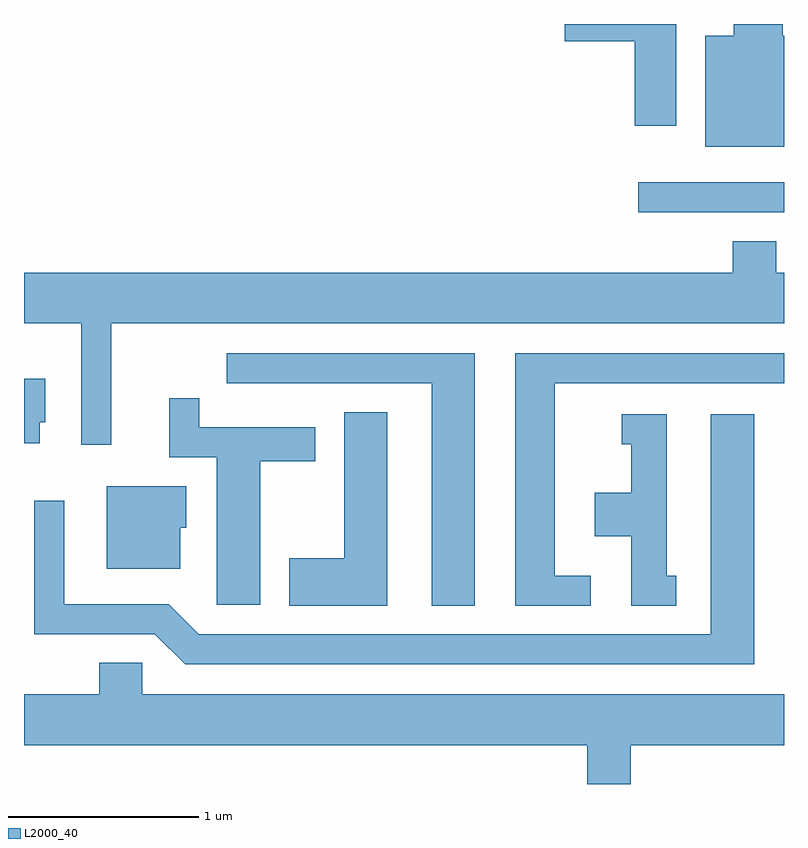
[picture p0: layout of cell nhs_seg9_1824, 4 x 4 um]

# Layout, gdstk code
import gdstk
lib = gdstk.Library(unit=1e-6, precision=1e-09)
def R(c, l, rs):  # rectangles x0, y0, x1, y1
    for r in rs: c.add(gdstk.rectangle(r[:2], r[2:], *l))
def P(c, l, *ps):  # polygons
    for p in ps: c.add(gdstk.Polygon(p, *l))
L2000_40 = (2000, 40)

nhs_seg9_1824 = lib.new_cell('nhs_seg9_1824')
R(nhs_seg9_1824, L2000_40, [(240.843,2063.441,241.611,2063.599)])
P(nhs_seg9_1824, L2000_40, [(241.044,2064.432),(240.456,2064.432),(240.456,2064.341),(240.826,2064.341),(240.826,2063.896),(241.044,2063.896)],
  [(241.611,2064.369),(241.604,2064.369),(241.604,2064.432),(241.346,2064.432),(241.346,2064.369),(241.196,2064.369),(241.196,2063.786),(241.611,2063.786)],
  [(238.069,2062.856),(241.611,2062.856),(241.611,2063.124),(241.569,2063.124),(241.569,2063.289),(241.341,2063.289),(241.341,2063.124),(237.611,2063.124),(237.611,2062.856),(237.911,2062.856),(237.911,2062.218),(238.069,2062.218)],
  [(239.984,2062.699),(238.678,2062.699),(238.678,2062.541),(239.756,2062.541),(239.756,2061.371),(239.984,2061.371)],
  [(240.593,2061.529),(240.404,2061.529),(240.404,2062.541),(241.611,2062.541),(241.611,2062.699),(240.196,2062.699),(240.196,2061.371),(240.593,2061.371)],
  [(237.694,2062.336),(237.724,2062.336),(237.724,2062.564),(237.611,2062.564),(237.611,2062.226),(237.694,2062.226)],
  [(238.854,2062.131),(239.144,2062.131),(239.144,2062.309),(238.534,2062.309),(238.534,2062.463),(238.376,2062.463),(238.376,2062.151),(238.626,2062.151),(238.626,2061.376),(238.854,2061.376)],
  [(239.524,2062.389),(239.296,2062.389),(239.296,2061.619),(239.006,2061.619),(239.006,2061.371),(239.524,2061.371)],
  [(241.454,2062.379),(241.226,2062.379),(241.226,2061.219),(238.532,2061.219),(238.372,2061.379),(237.824,2061.379),(237.824,2061.923),(237.666,2061.923),(237.666,2061.221),(238.299,2061.221),(238.459,2061.061),(241.454,2061.061)],
  [(241.043,2061.529),(240.994,2061.529),(240.994,2062.379),(240.758,2062.379),(240.758,2062.221),(240.806,2062.221),(240.806,2061.964),(240.616,2061.964),(240.616,2061.736),(240.806,2061.736),(240.806,2061.371),(241.043,2061.371)],
  [(238.434,2061.781),(238.464,2061.781),(238.464,2061.999),(238.046,2061.999),(238.046,2061.566),(238.434,2061.566)],
  [(240.804,2060.636),(241.611,2060.636),(241.611,2060.904),(238.234,2060.904),(238.234,2061.069),(238.006,2061.069),(238.006,2060.904),(237.611,2060.904),(237.611,2060.636),(240.576,2060.636),(240.576,2060.432),(240.804,2060.432)])

lib.write_gds('nhs_seg9_1824.gds')
